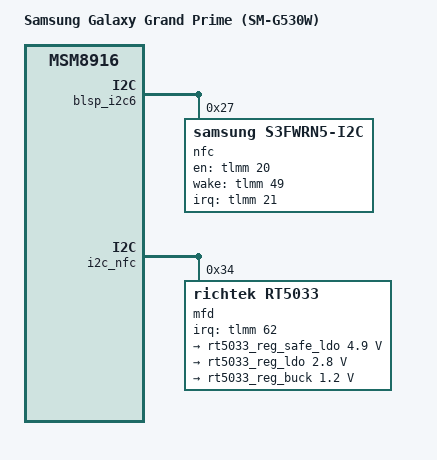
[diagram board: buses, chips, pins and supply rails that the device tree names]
// SPDX-License-Identifier: GPL-2.0-only

/dts-v1/;

#include "msm8916-samsung-fortuna-common.dtsi"

/ {
	model = "Samsung Galaxy Grand Prime (SM-G530W)";
	compatible = "samsung,gprimeltecan", "qcom,msm8916";
	chassis-type = "handset";

	reserved-memory {
		/* Firmware for gprimeltecan needs more space */
		/delete-node/ tz-apps@85a00000;

		/* Additional memory used by Samsung firmware modifications */
		tz-apps@85500000 {
			reg = <0x0 0x85500000 0x0 0xb00000>;
			no-map;
		};
	};
};

&blsp_i2c6 {
	status = "okay";

	/* mfd@34 is on i2c_nfc instead */
	/delete-node/ mfd@34;

	nfc@27 {
		compatible = "samsung,s3fwrn5-i2c";
		reg = <0x27>;

		interrupt-parent = <&tlmm>;
		interrupts = <21 IRQ_TYPE_EDGE_RISING>;

		en-gpios = <&tlmm 20 GPIO_ACTIVE_HIGH>;
		wake-gpios = <&tlmm 49 GPIO_ACTIVE_HIGH>;

		clocks = <&rpmcc RPM_SMD_BB_CLK2_PIN>;

		pinctrl-0 = <&nfc_default>, <&nfc_clk_req>;
		pinctrl-names = "default";
	};
};

&bosch_accel {
	status = "okay";
};

&bosch_magn {
	status = "okay";
};

&i2c_nfc {
	status = "okay";

	mfd@34 {
		compatible = "richtek,rt5033";
		reg = <0x34>;

		interrupts-extended = <&tlmm 62 IRQ_TYPE_EDGE_FALLING>;

		pinctrl-0 = <&mfd_int_default>;
		pinctrl-names = "default";

		regulators {
			rt5033_reg_safe_ldo: SAFE_LDO {
				regulator-min-microvolt = <4900000>;
				regulator-max-microvolt = <4900000>;
			};

			rt5033_reg_ldo: LDO {
				regulator-min-microvolt = <2800000>;
				regulator-max-microvolt = <2800000>;
			};

			rt5033_reg_buck: BUCK {
				regulator-min-microvolt = <1200000>;
				regulator-max-microvolt = <1200000>;
			};
		};

		charger: charger {
			compatible = "richtek,rt5033-charger";
			monitored-battery = <&battery>;
			richtek,usb-connector = <&usb_con>;
		};
	};
};

&mpss_mem {
	reg = <0x0 0x86800000 0x0 0x5400000>;
};
